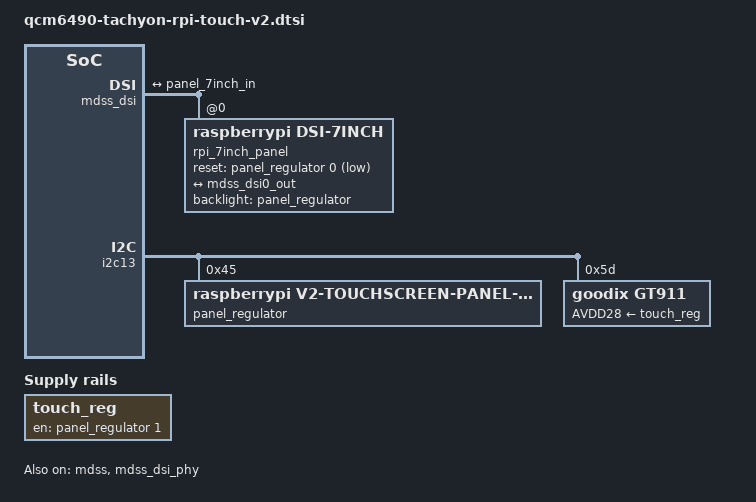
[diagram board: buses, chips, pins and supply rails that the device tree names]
// SPDX-License-Identifier: BSD-3-Clause
/*
 * Copyright (c) 2025 Particle Industries, Inc. All rights reserved.
 */

#include <dt-bindings/gpio/gpio.h>

&mdss {
	status = "okay";
};

&mdss_dsi_phy {
	vdds-supply = <&vreg_l10c_0p88>;
	status = "okay";
};

&mdss_dsi {
	vdda-supply = <&vreg_l6b_1p2>;
	status = "okay";

	#address-cells = <1>;
	#size-cells = <0>;

	ports {
		#address-cells = <1>;
		#size-cells = <0>;

		port@1 {
			reg = <1>;
			mdss_dsi0_out: endpoint {
				remote-endpoint = <&panel_7inch_in>;
			};
		};
	};

	rpi_7inch_panel: panel@0 {
		reg = <0>;
		compatible = "raspberrypi,dsi-7inch";
		reset-gpio = <&panel_regulator 0 GPIO_ACTIVE_LOW>;
		backlight = <&panel_regulator>;
		status = "okay";

		port {
			panel_7inch_in: endpoint {
				remote-endpoint = <&mdss_dsi0_out>;
			};
		};
	};
};

&{/} {
	#address-cells = <1>;
	#size-cells = <0>;
	touch_reg: touch_reg@1 {
		reg = <1>;
		compatible = "regulator-fixed";
		regulator-name = "touch_reg_1";
		gpio = <&panel_regulator 1 GPIO_ACTIVE_HIGH>;
		startup-delay-us = <50000>;
		enable-active-high;
	};
};

&i2c13 {
	status = "okay";
    qcom,load-firmware;

	#address-cells = <1>;
	#size-cells = <0>;

	panel_regulator: regulator@45 {
		compatible = "raspberrypi,v2-touchscreen-panel-regulator";
		reg = <0x45>;
		gpio-controller;
		#gpio-cells = <2>;
	};

	gt911: gt911@5d {
		compatible = "goodix,gt911";
		reg = <0x5d>;
		AVDD28-supply = <&touch_reg>;
		touchscreen-size-x = <720>;
		touchscreen-size-y = <1280>;
		touchscreen-x-mm = <62>;
		touchscreen-y-mm = <110>;
	};

};
